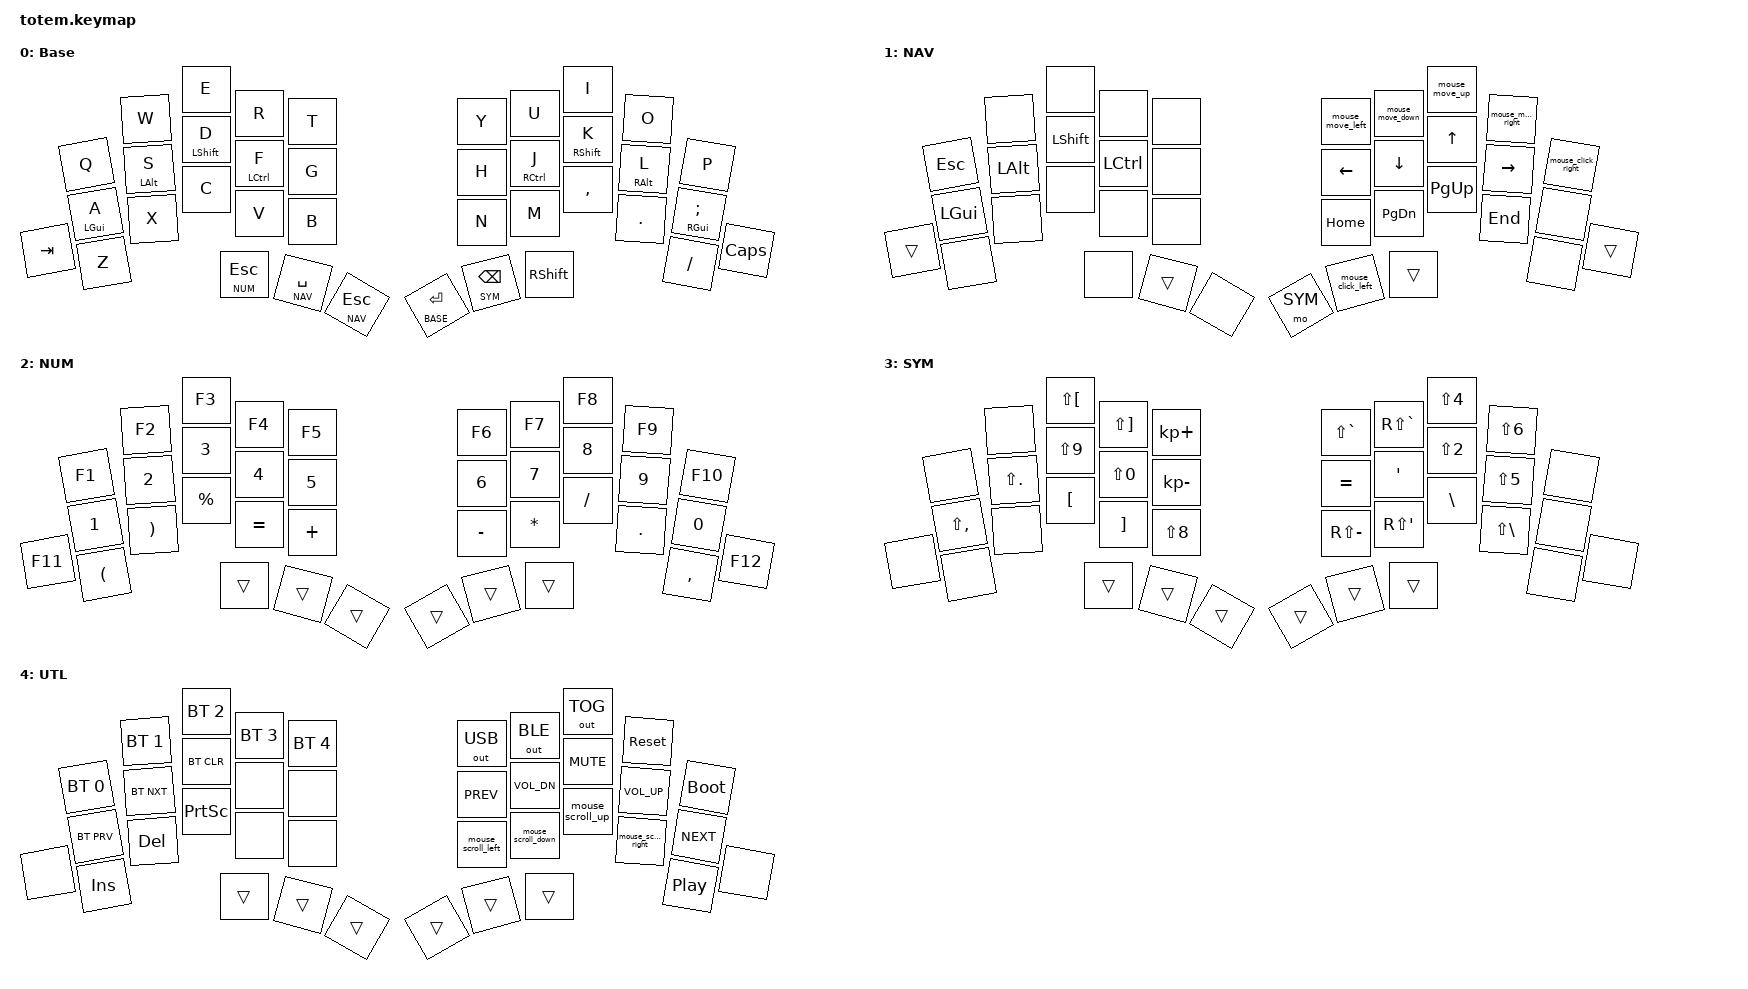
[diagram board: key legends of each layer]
//
// TOTEM keymap
// BASE / NAV / SYM preserved from current overlay dump.
// NUM redesigned as number + function row.
// UTL contains Bluetooth/output/system/media/mouse-scroll utilities.
//

#include <behaviors.dtsi>
#include <dt-bindings/zmk/keys.h>
#include <dt-bindings/zmk/bt.h>
#include <dt-bindings/zmk/outputs.h>
#include <dt-bindings/zmk/pointing.h>

#define BASE 0
#define NAV  1
#define NUM  2
#define SYM  3
#define UTL  4

&mt {
    quick-tap-ms = <100>;
    global-quick-tap;
    flavor = "tap-preferred";
    tapping-term-ms = <250>;
    require-prior-idle-ms = <125>;
};

/ {
    behaviors {
        hml: home_row_mod_left {
            compatible = "zmk,behavior-hold-tap";
            #binding-cells = <2>;

            flavor = "balanced";
            tapping-term-ms = <280>;
            quick-tap-ms = <175>;
            require-prior-idle-ms = <150>;
            bindings = <&kp>, <&kp>;

            // Opposite-hand trigger positions: RIGHT half only.
            hold-trigger-key-positions = <
                5 6 7 8 9
                15 16 17 18 19
                26 27 28 29 30 31
                35 36 37
            >;

            hold-trigger-on-release;
            display-name = "Home Row Mod Left";
        };

        hmr: home_row_mod_right {
            compatible = "zmk,behavior-hold-tap";
            #binding-cells = <2>;

            flavor = "balanced";
            tapping-term-ms = <280>;
            quick-tap-ms = <175>;
            require-prior-idle-ms = <150>;
            bindings = <&kp>, <&kp>;

            // Opposite-hand trigger positions: LEFT half only.
            hold-trigger-key-positions = <
                0 1 2 3 4
                10 11 12 13 14
                20 21 22 23 24 25
                32 33 34
            >;

            hold-trigger-on-release;
            display-name = "Home Row Mod Right";
        };
    };

    combos {
        compatible = "zmk,combos";

        combo_esc {
            timeout-ms = <50>;
            key-positions = <0 1>;
            bindings = <&kp ESC>;
        };
    };

    macros {
        // Reusable zero-parameter mouse behaviors for ZMK Studio.
        mouse_move_left: mouse_move_left {
            display-name = "Mouse Move Left";
            compatible = "zmk,behavior-macro";
            #binding-cells = <0>;
            wait-ms = <0>;
            tap-ms = <0>;
            bindings
                = <&macro_press &mmv MOVE_LEFT>
                , <&macro_pause_for_release>
                , <&macro_release &mmv MOVE_LEFT>
                ;
        };

        mouse_move_right: mouse_move_right {
            display-name = "Mouse Move Right";
            compatible = "zmk,behavior-macro";
            #binding-cells = <0>;
            wait-ms = <0>;
            tap-ms = <0>;
            bindings
                = <&macro_press &mmv MOVE_RIGHT>
                , <&macro_pause_for_release>
                , <&macro_release &mmv MOVE_RIGHT>
                ;
        };

        mouse_move_up: mouse_move_up {
            display-name = "Mouse Move Up";
            compatible = "zmk,behavior-macro";
            #binding-cells = <0>;
            wait-ms = <0>;
            tap-ms = <0>;
            bindings
                = <&macro_press &mmv MOVE_UP>
                , <&macro_pause_for_release>
                , <&macro_release &mmv MOVE_UP>
                ;
        };

        mouse_move_down: mouse_move_down {
            display-name = "Mouse Move Down";
            compatible = "zmk,behavior-macro";
            #binding-cells = <0>;
            wait-ms = <0>;
            tap-ms = <0>;
            bindings
                = <&macro_press &mmv MOVE_DOWN>
                , <&macro_pause_for_release>
                , <&macro_release &mmv MOVE_DOWN>
                ;
        };

        mouse_scroll_up: mouse_scroll_up {
            display-name = "Mouse Scroll Up";
            compatible = "zmk,behavior-macro";
            #binding-cells = <0>;
            wait-ms = <0>;
            tap-ms = <0>;
            bindings
                = <&macro_press &msc SCRL_UP>
                , <&macro_pause_for_release>
                , <&macro_release &msc SCRL_UP>
                ;
        };

        mouse_scroll_down: mouse_scroll_down {
            display-name = "Mouse Scroll Down";
            compatible = "zmk,behavior-macro";
            #binding-cells = <0>;
            wait-ms = <0>;
            tap-ms = <0>;
            bindings
                = <&macro_press &msc SCRL_DOWN>
                , <&macro_pause_for_release>
                , <&macro_release &msc SCRL_DOWN>
                ;
        };

        mouse_scroll_left: mouse_scroll_left {
            display-name = "Mouse Scroll Left";
            compatible = "zmk,behavior-macro";
            #binding-cells = <0>;
            wait-ms = <0>;
            tap-ms = <0>;
            bindings
                = <&macro_press &msc SCRL_LEFT>
                , <&macro_pause_for_release>
                , <&macro_release &msc SCRL_LEFT>
                ;
        };

        mouse_scroll_right: mouse_scroll_right {
            display-name = "Mouse Scroll Right";
            compatible = "zmk,behavior-macro";
            #binding-cells = <0>;
            wait-ms = <0>;
            tap-ms = <0>;
            bindings
                = <&macro_press &msc SCRL_RIGHT>
                , <&macro_pause_for_release>
                , <&macro_release &msc SCRL_RIGHT>
                ;
        };

        mouse_click_left: mouse_click_left {
            display-name = "Mouse Left Click";
            compatible = "zmk,behavior-macro";
            #binding-cells = <0>;
            wait-ms = <0>;
            tap-ms = <0>;
            bindings
                = <&macro_press &mkp LCLK>
                , <&macro_pause_for_release>
                , <&macro_release &mkp LCLK>
                ;
        };

        mouse_click_right: mouse_click_right {
            display-name = "Mouse Right Click";
            compatible = "zmk,behavior-macro";
            #binding-cells = <0>;
            wait-ms = <0>;
            tap-ms = <0>;
            bindings
                = <&macro_press &mkp RCLK>
                , <&macro_pause_for_release>
                , <&macro_release &mkp RCLK>
                ;
        };

        mouse_click_middle: mouse_click_middle {
            display-name = "Mouse Middle Click";
            compatible = "zmk,behavior-macro";
            #binding-cells = <0>;
            wait-ms = <0>;
            tap-ms = <0>;
            bindings
                = <&macro_press &mkp MCLK>
                , <&macro_pause_for_release>
                , <&macro_release &mkp MCLK>
                ;
        };

        mouse_button_4: mouse_button_4 {
            display-name = "Mouse Button 4";
            compatible = "zmk,behavior-macro";
            #binding-cells = <0>;
            wait-ms = <0>;
            tap-ms = <0>;
            bindings
                = <&macro_press &mkp MB4>
                , <&macro_pause_for_release>
                , <&macro_release &mkp MB4>
                ;
        };

        mouse_button_5: mouse_button_5 {
            display-name = "Mouse Button 5";
            compatible = "zmk,behavior-macro";
            #binding-cells = <0>;
            wait-ms = <0>;
            tap-ms = <0>;
            bindings
                = <&macro_press &mkp MB5>
                , <&macro_pause_for_release>
                , <&macro_release &mkp MB5>
                ;
        };

        gif: gif {
            label = "giphy";
            compatible = "zmk,behavior-macro";
            #binding-cells = <0>;
            bindings
                = <&macro_press &kp LSHFT>
                , <&macro_tap &kp N2>
                , <&macro_release &kp LSHFT>
                , <&macro_tap &kp G &kp I &kp F>
                ;
        };
    };

    // NAV + SYM -> UTL.
    // This uses the existing NAV-layer &mo SYM thumb key, so BASE/NAV/SYM
    // do not need to be changed merely to reach UTL.
    conditional_layers {
        compatible = "zmk,conditional-layers";

        nav_sym_utl {
            if-layers = <NAV SYM>;
            then-layer = <UTL>;
        };
    };

    keymap {
        compatible = "zmk,keymap";

        base_layer {
            label = "Base";

            //                 Q            W            E            R            T             Y            U            I            O            P
            //                 A/GUI        S/ALT        D/SHIFT      F/CTRL       G             H            J/RCTRL      K/RSHIFT     L/RALT       ;/RGUI
            // TAB             Z            X            C            V            B             N            M            ,            .            /            CAPS
            //                                           NUM/Esc      NAV/Space    NAV/Esc       Base/Enter   SYM/Bspc     RShift
            bindings = <
                                &kp Q        &kp W        &kp E        &kp R        &kp T          &kp Y        &kp U        &kp I        &kp O        &kp P
                                &hml LGUI A  &hml LALT S  &hml LSHFT D &hml LCTRL F &kp G         &kp H        &hmr RCTRL J &hmr RSHFT K &hmr RALT L  &hmr RGUI SEMI
                &kp TAB        &kp Z        &kp X        &kp C        &kp V        &kp B          &kp N        &kp M        &kp COMMA    &kp DOT      &kp FSLH     &kp CAPS
                                                            &lt NUM ESC  &lt NAV SPACE &lt NAV ESC  &lt BASE ENTER &lt SYM BSPC &kp RSHFT
            >;
        };

        nav_layer {
            label = "NAV";

            //                 ESC          .            .            .            .             M←           M↓           M↑           M→           RClick
            //                 GUI          ALT          SHIFT        CTRL         .             ←            ↓            ↑            →            .
            // TAB(trans)      .            .            .            .            .             HOME         PGDN         PGUP         END          .            CAPS(trans)
            //                                           .            trans        .             SYM          LClick       trans
            bindings = <
                                &kp ESC      &none        &none        &none        &none          &mouse_move_left &mouse_move_down &mouse_move_up &mouse_move_right &mouse_click_right
                                &kp LGUI     &kp LALT     &kp LSHFT   &kp LCTRL    &none          &kp LEFT     &kp DOWN     &kp UP       &kp RIGHT    &none
                &trans          &none        &none        &none        &none        &none          &kp HOME     &kp PG_DN    &kp PG_UP    &kp END      &none         &trans
                                                            &none        &trans       &none          &mo SYM      &mouse_click_left &trans
            >;
        };

        num_layer {
            label = "NUM";

            //                 F1           F2           F3           F4           F5            F6           F7           F8           F9           F10
            //                 1            2            3            4            5             6            7            8            9            0
            // F11             (            )            %            =            +             -            *            /            .            ,            F12
            //                                           trans        trans        trans          trans        trans        trans
            bindings = <
                                &kp F1       &kp F2       &kp F3       &kp F4       &kp F5         &kp F6       &kp F7       &kp F8       &kp F9       &kp F10
                                &kp N1       &kp N2       &kp N3       &kp N4       &kp N5         &kp N6       &kp N7       &kp N8       &kp N9       &kp N0
                &kp F11        &kp LPAR     &kp RPAR     &kp PRCNT    &kp EQUAL    &kp PLUS       &kp MINUS    &kp ASTRK    &kp FSLH     &kp DOT      &kp COMMA    &kp F12
                                                            &trans       &trans       &trans          &trans       &trans       &trans
            >;
        };

        sym_layer {
            label = "SYM";

            // Preserve current Studio/overlay bindings exactly by HID intent.
            bindings = <
                                &none            &none            &kp LS(LBKT)     &kp LS(RBKT)     &kp KP_PLUS      &kp LS(GRAVE)    &kp RS(GRAVE)    &kp LS(N4)       &kp LS(N6)       &none
                                &kp LS(COMMA)    &kp LS(DOT)      &kp LS(N9)       &kp LS(N0)       &kp KP_MINUS     &kp EQUAL        &kp SQT          &kp LS(N2)       &kp LS(N5)       &none
                &none           &none            &none            &kp LBKT         &kp RBKT         &kp LS(N8)       &kp RS(MINUS)    &kp RS(SQT)      &kp BSLH         &kp LS(BSLH)     &none           &none
                                                                        &trans            &trans            &trans            &trans            &trans            &trans
            >;
        };

        utility_layer {
            label = "UTL";

            // Bluetooth profiles 1-5                 | output + system
            // BT prev/next/clear                     | media controls
            // Fewer-used editing keys                | mouse scrolling + play/pause
            bindings = <
                                &bt BT_SEL 0   &bt BT_SEL 1   &bt BT_SEL 2   &bt BT_SEL 3   &bt BT_SEL 4      &out OUT_USB       &out OUT_BLE       &out OUT_TOG       &sys_reset          &bootloader
                                &bt BT_PRV     &bt BT_NXT     &bt BT_CLR     &none           &none              &kp C_PREV         &kp C_VOL_DN       &kp C_MUTE         &kp C_VOL_UP        &kp C_NEXT
                &none           &kp INS        &kp DEL        &kp PSCRN      &none           &none              &mouse_scroll_left &mouse_scroll_down &mouse_scroll_up   &mouse_scroll_right &kp C_PP            &none
                                                                        &trans            &trans            &trans            &trans            &trans            &trans
            >;
        };
    };
};
